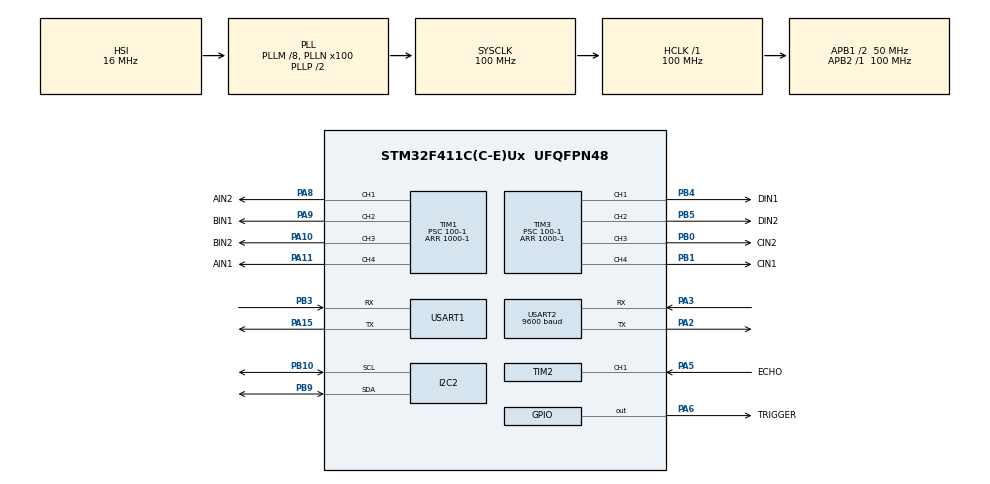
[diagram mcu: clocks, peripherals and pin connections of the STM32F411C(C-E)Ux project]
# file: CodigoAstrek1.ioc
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Dma.Request0=USART2_RX
Dma.Request1=USART1_TX
Dma.USART1_TX.1.Direction=DMA_MEMORY_TO_PERIPH
Dma.USART1_TX.1.FIFOMode=DMA_FIFOMODE_DISABLE
Dma.USART1_TX.1.Instance=DMA2_Stream7
Dma.USART1_TX.1.MemDataAlignment=DMA_MDATAALIGN_BYTE
Dma.USART1_TX.1.MemInc=DMA_MINC_ENABLE
Dma.USART1_TX.1.Mode=DMA_NORMAL
Dma.USART1_TX.1.PeriphDataAlignment=DMA_PDATAALIGN_BYTE
Dma.USART1_TX.1.PeriphInc=DMA_PINC_DISABLE
Dma.USART1_TX.1.Priority=DMA_PRIORITY_LOW
Dma.USART2_RX.0.Direction=DMA_PERIPH_TO_MEMORY
Dma.USART2_RX.0.FIFOMode=DMA_FIFOMODE_DISABLE
Dma.USART2_RX.0.Instance=DMA1_Stream5
Dma.USART2_RX.0.MemDataAlignment=DMA_MDATAALIGN_BYTE
Dma.USART2_RX.0.MemInc=DMA_MINC_ENABLE
Dma.USART2_RX.0.Mode=DMA_CIRCULAR
Dma.USART2_RX.0.PeriphDataAlignment=DMA_PDATAALIGN_BYTE
Dma.USART2_RX.0.PeriphInc=DMA_PINC_DISABLE
Dma.USART2_RX.0.Priority=DMA_PRIORITY_LOW
FREERTOS.BinarySemaphores01=hcsr04Semaphore,Dynamic,NULL,Available;serialSemaphore,Dynamic,NULL,Available;imuSemaphore,Dynamic,NULL,Available
FREERTOS.Queues01=sensorDataQueue,5,uint16_t,0,Dynamic,NULL,NULL;gpsDataQueue,5,uint16_t,0,Dynamic,NULL,NULL;imuDataQueue,5,uint16_t,0,Dynamic,NULL,NULL
FREERTOS.Tasks01=defaultTask,24,128,StartDefaultTask,Default,NULL,Dynamic,NULL,NULL;Control,48,128,ControlTask,Default,NULL,Dynamic,NULL,NULL;Ultrasonido,16,256,UltrasonicTask,As weak,NULL,Dynamic,NULL,NULL;Geoposicion,25,512,GPSTask,As weak,NULL,Dynamic,NULL,NULL;IMU,18,512,IMUTask,As weak,NULL,Dynamic,NULL,NULL;Transmision,8,512,TransmisionTask,As weak,NULL,Dynamic,NULL,NULL;Sensores_I2C,16,256,SensorsTask,As weak,NULL,Dynamic,NULL,NULL
FREERTOS.configUSE_NEWLIB_REENTRANT=1
Mcu.Family=STM32F4
Mcu.Name=STM32F411C(C-E)Ux
Mcu.Package=UFQFPN48
NVIC.DMA1_Stream5_IRQn=true\:5\:0\:false\:false\:true\:true\:false\:true\:true
NVIC.DMA2_Stream7_IRQn=true\:5\:0\:false\:false\:true\:true\:false\:true\:true
NVIC.PriorityGroup=NVIC_PRIORITYGROUP_4
NVIC.TIM1_TRG_COM_TIM11_IRQn=true\:15\:0\:false\:false\:true\:false\:false\:true\:true
NVIC.TIM2_IRQn=true\:5\:0\:false\:false\:true\:true\:true\:true\:true
NVIC.TimeBase=TIM1_TRG_COM_TIM11_IRQn
NVIC.TimeBaseIP=TIM11
NVIC.USART1_IRQn=true\:5\:0\:false\:false\:true\:true\:true\:true\:true
NVIC.USART2_IRQn=true\:5\:0\:false\:false\:true\:true\:true\:true\:true
PA10.GPIO_Label=BIN2
PA10.Signal=S_TIM1_CH3
PA11.GPIO_Label=AIN1
PA11.Signal=S_TIM1_CH4
PA15.Mode=Asynchronous
PA15.Signal=USART1_TX
PA2.Mode=Asynchronous
PA2.Signal=USART2_TX
PA3.Mode=Asynchronous
PA3.Signal=USART2_RX
PA5.GPIO_Label=ECHO
PA5.Signal=S_TIM2_CH1_ETR
PA6.GPIO_Label=TRIGGER
PA6.Signal=GPIO_Output
PA8.GPIO_Label=AIN2
PA8.Signal=S_TIM1_CH1
PA9.GPIO_Label=BIN1
PA9.Signal=S_TIM1_CH2
PB0.GPIO_Label=CIN2
PB0.Signal=S_TIM3_CH3
PB1.GPIO_Label=CIN1
PB1.Signal=S_TIM3_CH4
PB10.Mode=I2C
PB10.Signal=I2C2_SCL
PB3.Mode=Asynchronous
PB3.Signal=USART1_RX
PB4.GPIO_Label=DIN1
PB4.Signal=S_TIM3_CH1
PB5.GPIO_Label=DIN2
PB5.Signal=S_TIM3_CH2
PB9.Mode=I2C
PB9.Signal=I2C2_SDA
ProjectManager.HeapSize=0x200
ProjectManager.StackSize=0x400
ProjectManager.TargetToolchain=STM32CubeIDE
RCC.48MHZClocksFreq_Value=50000000
RCC.AHBFreq_Value=100000000
RCC.APB1CLKDivider=RCC_HCLK_DIV2
RCC.APB1Freq_Value=50000000
RCC.APB1TimFreq_Value=100000000
RCC.APB2Freq_Value=100000000
RCC.APB2TimFreq_Value=100000000
RCC.CortexFreq_Value=100000000
RCC.HCLKFreq_Value=100000000
RCC.HSE_VALUE=25000000
RCC.HSI_VALUE=16000000
RCC.LSE_VALUE=32768
RCC.PLLM=8
RCC.PLLN=100
RCC.SYSCLKFreq_VALUE=100000000
RCC.SYSCLKSource=RCC_SYSCLKSOURCE_PLLCLK
RCC.VCOOutputFreq_Value=200000000
SH.S_TIM1_CH1.0=TIM1_CH1,PWM Generation1 CH1
SH.S_TIM1_CH2.0=TIM1_CH2,PWM Generation2 CH2
SH.S_TIM1_CH3.0=TIM1_CH3,PWM Generation3 CH3
SH.S_TIM1_CH4.0=TIM1_CH4,PWM Generation4 CH4
SH.S_TIM2_CH1_ETR.0=TIM2_CH1,Input_Capture1_from_TI1
SH.S_TIM3_CH1.0=TIM3_CH1,PWM Generation1 CH1
SH.S_TIM3_CH2.0=TIM3_CH2,PWM Generation2 CH2
SH.S_TIM3_CH3.0=TIM3_CH3,PWM Generation3 CH3
SH.S_TIM3_CH4.0=TIM3_CH4,PWM Generation4 CH4
TIM1.Channel-PWM\ Generation1\ CH1=TIM_CHANNEL_1
TIM1.Channel-PWM\ Generation2\ CH2=TIM_CHANNEL_2
TIM1.Channel-PWM\ Generation3\ CH3=TIM_CHANNEL_3
TIM1.Channel-PWM\ Generation4\ CH4=TIM_CHANNEL_4
TIM1.Period=1000-1
TIM1.Prescaler=100-1
TIM2.Channel-Input_Capture1_from_TI1=TIM_CHANNEL_1
TIM2.Period=999
TIM2.Prescaler=100-1
TIM3.Channel-PWM\ Generation1\ CH1=TIM_CHANNEL_1
TIM3.Channel-PWM\ Generation2\ CH2=TIM_CHANNEL_2
TIM3.Channel-PWM\ Generation3\ CH3=TIM_CHANNEL_3
TIM3.Channel-PWM\ Generation4\ CH4=TIM_CHANNEL_4
TIM3.Period=1000-1
TIM3.Prescaler=100-1
USART1.VirtualMode=VM_ASYNC
USART2.BaudRate=9600
USART2.VirtualMode=VM_ASYNC
VP_FREERTOS_VS_CMSIS_V2.Mode=CMSIS_V2
VP_SYS_VS_tim11.Mode=TIM11
VP_TIM1_VS_ClockSourceINT.Mode=Internal
VP_TIM2_VS_ClockSourceINT.Mode=Internal
VP_TIM3_VS_ClockSourceINT.Mode=Internal
board=custom

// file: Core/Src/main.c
/* USER CODE BEGIN Header */
/**
 ******************************************************************************
 * @file           : main.c
 * @brief          : Main program body
 ******************************************************************************
 * @attention
 *
 * Copyright (c) 2025 STMicroelectronics.
 * All rights reserved.
 *
 * This software is licensed under terms that can be found in the LICENSE file
 * in the root directory of this software component.
 * If no LICENSE file comes with this software, it is provided AS-IS.
 *
 ******************************************************************************
 */
/* USER CODE END Header */
#include "main.h"
#include "cmsis_os.h"
#include "dma.h"
#include "i2c.h"
#include "tim.h"
#include "usart.h"
#include "gpio.h"

/* USER CODE BEGIN Includes */
#include "Control_Rover.h"
#include "GPS.h"
#include "IMU.h"
#include "Serial.h"
#include "sr04.h"
#include "Gases.h"
#include "Navegacion.h"

/* USER CODE END Includes */

/* USER CODE BEGIN PTD */
Rover_Config Rover; // A corregir, que los de diseño hpta se decidan si 4x4 o solo traccion delantera
HCSR04_Config_t hcsr04_config;
GPS_Config_t gps_config;
MPU9250_Data IMU_Data;
BMP280_t bmp;
CCS811_Handle_t ccs811_handle;

extern UART_HandleTypeDef huart2;
extern UART_HandleTypeDef huart1;
/* USER CODE END PTD */

/* USER CODE BEGIN PD */
#define CCS811_I2C_ADDRESS         0x5A  // Dirección I2C del CCS811 (ADDR a GND)
#define SENSOR_READ_INTERVAL_MS    2000  // Intervalo de lectura de sensores en ms
#define UART_BUFFER_SIZE           256   // Tamaño del buffer UART

/* USER CODE END PD */

void SystemClock_Config(void);
void MX_FREERTOS_Init(void);
/* USER CODE BEGIN PFP */
void AllInit(void);

/* USER CODE END PFP */

int main(void)
{

  /* MCU Configuration--------------------------------------------------------*/

  /* Reset of all peripherals, Initializes the Flash interface and the Systick. */
  HAL_Init();

  /* Configure the system clock */
  SystemClock_Config();

  /* Initialize all configured peripherals */
  MX_GPIO_Init();
  MX_DMA_Init();
  MX_TIM1_Init();
  MX_TIM3_Init();
  MX_TIM2_Init();
  MX_I2C2_Init();
  MX_USART2_UART_Init();
  MX_USART1_UART_Init();
  /* USER CODE BEGIN 2 */
  AllInit();
  /* USER CODE END 2 */

  /* Init scheduler */
  osKernelInitialize();  /* Call init function for freertos objects (in cmsis_os2.c) */
  MX_FREERTOS_Init();

  /* Start scheduler */
  osKernelStart();

  /* We should never get here as control is now taken by the scheduler */

  /* Infinite loop */
	while (1)
	{

	}
}

void SystemClock_Config(void)
{
  RCC_OscInitTypeDef RCC_OscInitStruct = {0};
  RCC_ClkInitTypeDef RCC_ClkInitStruct = {0};

  /** Configure the main internal regulator output voltage
  */
  __HAL_RCC_PWR_CLK_ENABLE();
  __HAL_PWR_VOLTAGESCALING_CONFIG(PWR_REGULATOR_VOLTAGE_SCALE1);

  /** Initializes the RCC Oscillators according to the specified parameters
  * in the RCC_OscInitTypeDef structure.
  */
  RCC_OscInitStruct.OscillatorType = RCC_OSCILLATORTYPE_HSI;
  RCC_OscInitStruct.HSIState = RCC_HSI_ON;
  RCC_OscInitStruct.HSICalibrationValue = RCC_HSICALIBRATION_DEFAULT;
  RCC_OscInitStruct.PLL.PLLState = RCC_PLL_ON;
  RCC_OscInitStruct.PLL.PLLSource = RCC_PLLSOURCE_HSI;
  RCC_OscInitStruct.PLL.PLLM = 8;
  RCC_OscInitStruct.PLL.PLLN = 100;
  RCC_OscInitStruct.PLL.PLLP = RCC_PLLP_DIV2;
  RCC_OscInitStruct.PLL.PLLQ = 4;
  if (HAL_RCC_OscConfig(&RCC_OscInitStruct) != HAL_OK)
  {
    Error_Handler();
  }

  /** Initializes the CPU, AHB and APB buses clocks
  */
  RCC_ClkInitStruct.ClockType = RCC_CLOCKTYPE_HCLK|RCC_CLOCKTYPE_SYSCLK
                              |RCC_CLOCKTYPE_PCLK1|RCC_CLOCKTYPE_PCLK2;
  RCC_ClkInitStruct.SYSCLKSource = RCC_SYSCLKSOURCE_PLLCLK;
  RCC_ClkInitStruct.AHBCLKDivider = RCC_SYSCLK_DIV1;
  RCC_ClkInitStruct.APB1CLKDivider = RCC_HCLK_DIV2;
  RCC_ClkInitStruct.APB2CLKDivider = RCC_HCLK_DIV1;

  if (HAL_RCC_ClockConfig(&RCC_ClkInitStruct, FLASH_LATENCY_3) != HAL_OK)
  {
    Error_Handler();
  }
}

/* USER CODE BEGIN 4 */
void AllInit(void){ // COLOCAR LOS QUE SON BRRRRRRRRRRR

	BMP280_Init(&bmp, &hi2c2);
	MPU9250_Init();

	// Configuración del sensor de gases CCS811
	CCS811_Config_t ccs811_config;
	//ccs811_config.hi2c = &hi2c1;  // Usar I2C1 para el CCS811
	ccs811_config.device_address = CCS811_I2C_ADDRESS;
	ccs811_config.measurement_mode = CCS811_MODE_1SEC;  // Medición cada segundo
	ccs811_config.baseline = 0;  // Sin baseline inicial
	ccs811_config.interrupt_enabled = false;  // Sin interrupciones
	//ccs811_config.error_callback = CCS811_ErrorHandler;

	//HAL_GPIO_WritePin(GPIOA, GPIO_PIN_4, GPIO_PIN_SET); // Prende el StandBy

	HAL_TIM_PWM_Start(&htim1, TIM_CHANNEL_2); // motor izquierdo adelante
	HAL_TIM_PWM_Start(&htim1, TIM_CHANNEL_3);

	HAL_TIM_PWM_Start(&htim1, TIM_CHANNEL_4); // Motor derecho adelante
	HAL_TIM_PWM_Start(&htim1, TIM_CHANNEL_1);

	HAL_TIM_PWM_Start(&htim3, TIM_CHANNEL_1); // motor izquierdo atras
	HAL_TIM_PWM_Start(&htim3, TIM_CHANNEL_2);

	HAL_TIM_PWM_Start(&htim3, TIM_CHANNEL_4); // Motor derecho atras
	HAL_TIM_PWM_Start(&htim3, TIM_CHANNEL_3);

	// Configurar pines y timer para el motor derecho delantero
	Rover.f_right_motor.pwm_timer = &htim1;
	Rover.f_right_motor.pwm_channel_IN1 = TIM_CHANNEL_4; // AIN1
	Rover.f_right_motor.pwm_channel_IN2 = TIM_CHANNEL_1; // AIN2

	// Configurar pines y timer para el motor izquierdo delantero
	Rover.f_left_motor.pwm_timer = &htim1;
	Rover.f_left_motor.pwm_channel_IN1 = TIM_CHANNEL_2; // BIN1
	Rover.f_left_motor.pwm_channel_IN2 = TIM_CHANNEL_3; // BIN2

	// Configurar pines y timer para el motor derecho trasero
	Rover.b_right_motor.pwm_timer = &htim3;
	Rover.b_right_motor.pwm_channel_IN1 = TIM_CHANNEL_4; // CIN1
	Rover.b_right_motor.pwm_channel_IN2 = TIM_CHANNEL_3; // CIN2

	// Configurar pines y timer para el motor izquierdo trasero
	Rover.b_left_motor.pwm_timer = &htim3;
	Rover.b_left_motor.pwm_channel_IN1 = TIM_CHANNEL_1; // DIN1
	Rover.b_left_motor.pwm_channel_IN2 = TIM_CHANNEL_2; // DIN2

	hcsr04_config.htim = &htim2;
	hcsr04_config.tim_channel = TIM_CHANNEL_1;
	hcsr04_config.trig_port = GPIOA;          // Ajustar según tu configuración
	hcsr04_config.trig_pin = GPIO_PIN_6;     // Ajustar según tu configuración
	hcsr04_config.timeout_ms = 100;
	HCSR04_Init(&hcsr04_config);

	gps_config.huart = &huart2;  // colocar la que es aqui y arriba en la definicion externa
	gps_config.timeout_ms = 1000;
	GPS_Init(&gps_config);

	Serial_Init(&huart1);

	init_navegacion();
}

/**
 *  @brief Callback de Input Capture
 * @param htim Handle del timer
 */
void HAL_TIM_IC_CaptureCallback(TIM_HandleTypeDef *htim)
{
	HCSR04_InputCaptureCallback(htim);
}

/**
 * @brief Callback de transmisión UART completa
 * @param huart Handle de UART
 */
void HAL_UART_TxCpltCallback(UART_HandleTypeDef *huart)
{
	Serial_TxComplete_Callback(huart);
}

void HAL_UART_RxCpltCallback(UART_HandleTypeDef *huart)
{

}

void HAL_UART_ErrorCallback(UART_HandleTypeDef *huart)
{
	if (huart == &huart2) {
		// Reiniciar recepción en caso de error
		GPS_StartReceive();
	}
}

void HAL_UART_RxHalfCpltCallback(UART_HandleTypeDef *huart)
{
	// El procesamiento se hace en la task GPS
	// No es necesario hacer nada aquí ya que usamos DMA circular
}

/* USER CODE END 4 */

void HAL_TIM_PeriodElapsedCallback(TIM_HandleTypeDef *htim)
{
  if (htim->Instance == TIM11)
  {
    HAL_IncTick();
  }
}

void Error_Handler(void)
{
	__disable_irq();
	while (1)
	{
	}
}

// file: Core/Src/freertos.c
/* USER CODE BEGIN Header */
/**
 ******************************************************************************
 * File Name          : freertos.c (VERSIÓN CORREGIDA)
 * Description        : Code for freertos applications
 ******************************************************************************
 */
/* USER CODE END Header */

#include "FreeRTOS.h"
#include "task.h"
#include "main.h"
#include "cmsis_os.h"

/* USER CODE BEGIN Includes */
#define _USE_MATH_DEFINES
#include <math.h>

#include "GPS.h"
#include "IMU.h"
#include "Serial.h"
#include "sr04.h"

#include "Navegacion.h"
//#include "NavGlobal.h"
#include "Taquito.h"

#include "usart.h"
#include "i2c.h"

#include <string.h>
#include <stdio.h>

#include "Control_Rover.h"
#include "Control_Pose.h"
#include "Control_Kinematics.h"
#include "Control_PWM.h"

#include "Sensors_I2C.h"
#include "LoRa_RYLR998.h"

/* USER CODE END Includes */

/* USER CODE BEGIN PTD */
extern Rover_Config Rover;
extern HCSR04_Config_t hcsr04_config;
extern GPS_Config_t gps_config;
extern MPU9250_Data IMU_Data;
/* USER CODE END PTD */

/* USER CODE BEGIN Variables */
int __io_putchar(int ch) {
	HAL_UART_Transmit(&huart1, (uint8_t *)&ch, 1, HAL_MAX_DELAY);
	return ch;
}

uint32_t raw_light_debug = 0;
static PoseController_t pose_controller;
static PWM_Compensation_t pwm_compensation;
static uint8_t control_initialized = 0;

/* USER CODE END Variables */
/* Definitions for Navegacion */
osThreadId_t NavegacionHandle;
const osThreadAttr_t Navegacion_attributes = {
		.name = "Navegacion",
		.stack_size = 144 * 4,
		.priority = (osPriority_t) osPriorityAboveNormal,
};
/* Definitions for Taquito */
osThreadId_t TaquitoHandle;
const osThreadAttr_t Taquito_attributes = {
		.name = "Taquito",
		.stack_size = 311 * 4,
		.priority = (osPriority_t) osPriorityNormal,
};
/* Definitions for NavGlobal */
osThreadId_t NavGlobalHandle;
const osThreadAttr_t NavGlobal_attributes = {
		.name = "NavGlobal",
		.stack_size = 323 * 4,
		.priority = (osPriority_t) osPriorityBelowNormal1,
};
/* Definitions for Control */
osThreadId_t ControlHandle;
const osThreadAttr_t Control_attributes = {
		.name = "Control",
		.stack_size = 128 * 4,
		.priority = (osPriority_t) osPriorityRealtime,
};
/* Definitions for Ultrasonido */
osThreadId_t UltrasonidoHandle;
const osThreadAttr_t Ultrasonido_attributes = {
		.name = "Ultrasonido",
		.stack_size = 210 * 4,
		.priority = (osPriority_t) osPriorityBelowNormal2,
};
/* Definitions for Geoposicion */
osThreadId_t GeoposicionHandle;
const osThreadAttr_t Geoposicion_attributes = {
		.name = "Geoposicion",
		.stack_size = 210 * 4,
		.priority = (osPriority_t) osPriorityNormal,
};
/* Definitions for Transmision */
osThreadId_t TransmisionHandle;
const osThreadAttr_t Transmision_attributes = {
		.name = "Transmision",
		.stack_size = 512 * 4,
		.priority = (osPriority_t) osPriorityLow,
};
/* Definitions for Sensores_I2C */
osThreadId_t Sensores_I2CHandle;
const osThreadAttr_t Sensores_I2C_attributes = {
		.name = "Sensores_I2C",
		.stack_size = 512 * 4,
		.priority = (osPriority_t) osPriorityBelowNormal,
};
/* Definitions for sensorDataQueue */
osMessageQueueId_t sensorDataQueueHandle;
const osMessageQueueAttr_t sensorDataQueue_attributes = {
		.name = "sensorDataQueue"
};
/* Definitions for gpsDataQueue */
osMessageQueueId_t gpsDataQueueHandle;
const osMessageQueueAttr_t gpsDataQueue_attributes = {
		.name = "gpsDataQueue"
};
/* Definitions for controlDataQueue */
osMessageQueueId_t controlDataQueueHandle;
const osMessageQueueAttr_t controlDataQueue_attributes = {
		.name = "controlDataQueue"
};
/* Definitions for navStatesQueue */
osMessageQueueId_t navStatesQueueHandle;
const osMessageQueueAttr_t navStatesQueue_attributes = {
		.name = "navStatesQueue"
};
/* Definitions for hcsr04DataQueue */
osMessageQueueId_t hcsr04DataQueueHandle;
const osMessageQueueAttr_t hcsr04DataQueue_attributes = {
		.name = "hcsr04DataQueue"
};
/* Definitions for hcsr04Semaphore */
osSemaphoreId_t hcsr04SemaphoreHandle;
const osSemaphoreAttr_t hcsr04Semaphore_attributes = {
		.name = "hcsr04Semaphore"
};
/* Definitions for serialSemaphore */
osSemaphoreId_t serialSemaphoreHandle;
const osSemaphoreAttr_t serialSemaphore_attributes = {
		.name = "serialSemaphore"
};
/* Definitions for imuSemaphore */
osSemaphoreId_t imuSemaphoreHandle;
const osSemaphoreAttr_t imuSemaphore_attributes = {
		.name = "imuSemaphore"
};

/* USER CODE BEGIN FunctionPrototypes */

void Rover_SetPWM_Differential(Rover_Config *rover, PWM_Commands_t commands)
{
	// ========== MOTORES DERECHOS ==========
	if (commands.dir_right == 0) {
		__HAL_TIM_SET_COMPARE(rover->f_right_motor.pwm_timer,
				rover->f_right_motor.pwm_channel_IN1,
				commands.pwm_right);
		__HAL_TIM_SET_COMPARE(rover->f_right_motor.pwm_timer,
				rover->f_right_motor.pwm_channel_IN2, 0);

		__HAL_TIM_SET_COMPARE(rover->b_right_motor.pwm_timer,
				rover->b_right_motor.pwm_channel_IN1,
				commands.pwm_right);
		__HAL_TIM_SET_COMPARE(rover->b_right_motor.pwm_timer,
				rover->b_right_motor.pwm_channel_IN2, 0);
	} else {
		__HAL_TIM_SET_COMPARE(rover->f_right_motor.pwm_timer,
				rover->f_right_motor.pwm_channel_IN1, 0);
		__HAL_TIM_SET_COMPARE(rover->f_right_motor.pwm_timer,
				rover->f_right_motor.pwm_channel_IN2,
				commands.pwm_right);

		__HAL_TIM_SET_COMPARE(rover->b_right_motor.pwm_timer,
				rover->b_right_motor.pwm_channel_IN1, 0);
		__HAL_TIM_SET_COMPARE(rover->b_right_motor.pwm_timer,
				rover->b_right_motor.pwm_channel_IN2,
				commands.pwm_right);
	}

	// ========== MOTORES IZQUIERDOS ==========
	if (commands.dir_left == 0) {
		__HAL_TIM_SET_COMPARE(rover->f_left_motor.pwm_timer,
				rover->f_left_motor.pwm_channel_IN1,
				commands.pwm_left);
		__HAL_TIM_SET_COMPARE(rover->f_left_motor.pwm_timer,
				rover->f_left_motor.pwm_channel_IN2, 0);

		__HAL_TIM_SET_COMPARE(rover->b_left_motor.pwm_timer,
				rover->b_left_motor.pwm_channel_IN1,
				commands.pwm_left);
		__HAL_TIM_SET_COMPARE(rover->b_left_motor.pwm_timer,
				rover->b_left_motor.pwm_channel_IN2, 0);
	} else {
		__HAL_TIM_SET_COMPARE(rover->f_left_motor.pwm_timer,
				rover->f_left_motor.pwm_channel_IN1, 0);
		__HAL_TIM_SET_COMPARE(rover->f_left_motor.pwm_timer,
				rover->f_left_motor.pwm_channel_IN2,
				commands.pwm_left);

		__HAL_TIM_SET_COMPARE(rover->b_left_motor.pwm_timer,
				rover->b_left_motor.pwm_channel_IN1, 0);
		__HAL_TIM_SET_COMPARE(rover->b_left_motor.pwm_timer,
				rover->b_left_motor.pwm_channel_IN2,
				commands.pwm_left);
	}
}

/* USER CODE END FunctionPrototypes */

void NavegacionTask(void *argument);
void TaquitoTask(void *argument);
void Navegacion_Global(void *argument);
void ControlTask(void *argument);
void UltrasonidoTask(void *argument);
void GPSTask(void *argument);
void TransmisionTask(void *argument);
void SensoresTask(void *argument);

void MX_FREERTOS_Init(void); /* (MISRA C 2004 rule 8.1) */

void MX_FREERTOS_Init(void) {

	/* Create the semaphores(s) */
	/* creation of hcsr04Semaphore */
	hcsr04SemaphoreHandle = osSemaphoreNew(1, 0, &hcsr04Semaphore_attributes);

	/* creation of serialSemaphore */
	serialSemaphoreHandle = osSemaphoreNew(1, 1, &serialSemaphore_attributes);

	/* creation of imuSemaphore */
	imuSemaphoreHandle = osSemaphoreNew(1, 1, &imuSemaphore_attributes);

	/* Create the queue(s) */
	/* creation of sensorDataQueue */
	sensorDataQueueHandle = osMessageQueueNew (5, sizeof(SensorData_t), &sensorDataQueue_attributes);

	/* creation of gpsDataQueue */
	gpsDataQueueHandle = osMessageQueueNew (5, sizeof(GPS_Data_t), &gpsDataQueue_attributes);

	/* creation of controlDataQueue */
	controlDataQueueHandle = osMessageQueueNew (5, sizeof(ControlCommand_t), &controlDataQueue_attributes);

	/* creation of navStatesQueue */
	//navStatesQueueHandle = osMessageQueueNew (5, sizeof(evento_navegacion), &navStatesQueue_attributes);

	/* creation of hcsr04DataQueue */
	hcsr04DataQueueHandle = osMessageQueueNew (5, sizeof(uint16_t), &hcsr04DataQueue_attributes);

	/* Create the thread(s) */
	/* creation of Navegacion */
	//NavegacionHandle = osThreadNew(NavegacionTask, NULL, &Navegacion_attributes);

	/* creation of Taquito */
	TaquitoHandle = osThreadNew(TaquitoTask, NULL, &Taquito_attributes);

	/* creation of NavGlobal */
	//NavGlobalHandle = osThreadNew(Navegacion_Global, NULL, &NavGlobal_attributes);

	/* creation of Control */
	ControlHandle = osThreadNew(ControlTask, NULL, &Control_attributes);

	/* creation of Ultrasonido */
	UltrasonidoHandle = osThreadNew(UltrasonidoTask, NULL, &Ultrasonido_attributes);

	/* creation of Geoposicion */
	GeoposicionHandle = osThreadNew(GPSTask, NULL, &Geoposicion_attributes);

	/* creation of Transmision */
	TransmisionHandle = osThreadNew(TransmisionTask, NULL, &Transmision_attributes);

	/* creation of Sensores_I2C */
	Sensores_I2CHandle = osThreadNew(SensoresTask, NULL, &Sensores_I2C_attributes);

}

void NavegacionTask(void *argument)
{
	for(;;)
	{
		osDelay(1);
	}
}

void TaquitoTask(void *argument)
{
	for(;;)
	{
		osDelay(1);
	}
}

void Navegacion_Global(void *argument)
{
	for(;;)
	{
		osDelay(1);
	}
}

void ControlTask(void *argument)
{
    PoseController_t pose_ctrl;
    PoseController_Init(&pose_ctrl);

    GPS_Data_t gps_data;
    ControlCommand_t cmd;
    osStatus_t status;

    // Variables de trabajo para el control
	float vx_cmd = 0.0f;
	float wz_cmd = 0.0f;

    // Target inicial (hardcoded para prueba)
  /*  float target_x = 10.0f;  // 10 metros al norte
    float target_y = 0.0f;*/

    for(;;)
    {
        // 1. Leer GPS actual
        status = osMessageQueueGet(gpsDataQueueHandle, &gps_data, NULL, 10);
        if (status != osOK) continue;

        // Intentar leer un comando de la cola de Taquito (no bloqueante, timeout 0)
        status = osMessageQueueGet(controlDataQueueHandle, &cmd, NULL, 0);
        if (status != osOK) continue;

        // 2. Convertir GPS a coordenadas locales (usar gpsACartesiano)
        P_Cartesiano pos_actual = gpsACartesiano(estacionTerrena, &gps_data);

        // 3. Obtener orientación (temporalmente de GPS course)
        float theta_actual = deg2rad(gps_data.course);

        // 3. SELECCIÓN DE LÓGICA DE CONTROL BASADA EN EL MODO
		switch (cmd.mode)
		{
			case MODE_WALL_FOLLOW: //control PID para el seguimiento de pared
				// Taquito ya calculó el PID lateral y dio el vx y wz (corrección)
				vx_cmd = cmd.target_vx;
				wz_cmd = cmd.target_wz;

				// Resetear el PID de pose (para que no interfiera)
				PoseController_Reset(&pose_ctrl);
				break;

			case MODE_POSE_GIRO: //pendiente de ajustar, es para los giros de 90°
				// Giro de 90 grados:
				// 1. Usamos el PID angular de PoseController
				PoseController_Update_Theta(&pose_ctrl,
											pos_actual.theta,
											cmd.target_theta);

				// 2. Tomamos el wz del controlador angular y forzamos vx=0
				vx_cmd = 0.0f;
				wz_cmd = pose_ctrl.wz_cmd;

				// Lógica de finalización (debe estar aquí o en PoseController_Update_Theta)
				// if (fabsf(theta_actual - cmd.target_theta) < THETA_TOLERANCE) {
				//     // Notificar a Taquito y cambiar el modo de control.
				// }
				break;

			case MODE_POSE_TARGET: //la logica que ya se tenia, avanza hacia un target x,y
				// Comportamiento de control de pose original (ir a X, Y)
				PoseController_Update(&pose_ctrl,
									 pos_actual.x, pos_actual.y, theta_actual,
									 cmd.target_x, cmd.target_y); // Usar targets del comando

				vx_cmd = pose_ctrl.vx_cmd;
				wz_cmd = pose_ctrl.wz_cmd;
				break;

			case MODE_FORWARD:
				//avance "en bruto" desde taquito
				vx_cmd = cmd.target_vx;
				wz_cmd = cmd.target_wz;
				break;
		}

        // 5. Cinemática inversa
        WheelVelocities_t wheels = Kinematics_Inverse(vx_cmd,
                                                      wz_cmd);
///
        // 6. Modelo PWM
        PWM_Mapping_t pwm_right = PWM_VelocityToPWM(wheels.vR_cmd, 1);
        PWM_Mapping_t pwm_left = PWM_VelocityToPWM(wheels.vL_cmd, 0);

        // 7. Aplicar PWM
        Rover_SetPWM(&Rover, pwm_right.pwm_duty, pwm_left.pwm_duty);

        osDelay(50);  // Control a 20Hz
    }
}

void UltrasonidoTask(void *argument)
{
	/* USER CODE BEGIN UltrasonidoTask */

	HCSR04_Data_t data_ultrasonico;

	/* Infinite loop */
	for(;;)
	{
		// 1. Llama a la función de lectura.
		// Esta función bloqueará la tarea (espera el semáforo)
		// hasta que la interrupción del timer reciba el eco.
		HAL_StatusTypeDef status = HCSR04_ReadDistance(&data_ultrasonico);
		// 2. Comprobar si la lectura fue exitosa
		if (status == HAL_OK)
		{
			// 3. Imprimir el dato usando la función de Serial.c
			// Esta función ya comprueba si data.is_valid
			Serial_PrintHCSR04Data(&data_ultrasonico);
		}
		else
		{
			// 4. (Opcional) Imprimir si hubo un error (timeout)
			//Serial_PrintString("[Ultrasonico] Error: Timeout (eco no recibido)\r\n");
		}
		// 5. Esperar antes de la próxima medición
		// No medir demasiado rápido para evitar ecos fantasmas.
		osDelay(200); // 5 lecturas por segundo es más que suficiente.
	}
	/* USER CODE END UltrasonidoTask */
}

void GPSTask(void *argument)
{
	/* USER CODE BEGIN GPSTask */
	GPS_Data_t local_gps_data;

	/* Infinite loop */
	for(;;)
	{
		GPS_ProcessData();
		if (gps_data_ready) {
			// Copiar datos globales a local
			memcpy(&local_gps_data, &g_gps_data, sizeof(GPS_Data_t));

			// Enviar a cola para otras tareas
			osMessageQueuePut(gpsDataQueueHandle, &local_gps_data, 0, 0);

			// Imprimir para debug
			GPS_PrintData(&local_gps_data);

			// Limpiar bandera
			gps_data_ready = 0;
		}
		osDelay(100);
	}
	/* USER CODE END GPSTask */
}

void TransmisionTask(void *argument)
{
	for(;;)
	{
		osDelay(1);
	}
}

void SensoresTask(void *argument)
{
	/* USER CODE BEGIN SensoresTask */
	Sensors_I2C_Handle_t hsensors = {0};
	LoRa_t lora_module;

	if (Sensors_I2C_Init(&hsensors, &hi2c1)==HAL_OK)
	{
		Serial_PrintString("Sensores I2C Inicializados \n\r");
	}
	else
	{
		Serial_PrintString("No se logró inicializar los sensores \n\r");
	}
	LoRa_Init(&lora_module, &huart1);
	LoRa_Setup(&lora_module,
			"1",  // Dirección del dispositivo
			"18", // ID de Red
			"915000000"); // Banda (ej. 915 MHz)

	/* Infinite loop */
	for(;;)
	{
		// 1. Leer Temperatura y Humedad
		HDC1080_Read(&hsensors);

		// 2. Enviar datos de T/H al CCS811 para compensación
		CCS811_WriteEnvData(&hsensors, hsensors.data.temperature, hsensors.data.humidity);

		// 3. Leer Calidad de Aire (ahora compensada)
		CCS811_Read(&hsensors);

		// 4. Leer el resto de sensores
		MPU6050_Read(&hsensors);
		LTR390_Read(&hsensors);

		char msg[128];

		// ----- MODIFICACIÓN DEL SNPRINTF -----
		snprintf(msg, sizeof(msg),
				"%.1f,%.1f,%u,%u,%.2f,%.2f,%.2f,%.1f",
				hsensors.data.temperature,
				hsensors.data.humidity,
				hsensors.data.eco2,
				hsensors.data.tvoc,
				hsensors.data.accel[0],
				hsensors.data.accel[1],
				hsensors.data.accel[2],
				hsensors.data.light); // Volvemos a imprimir el valor float

		char cmd[160];
		snprintf(cmd, sizeof(cmd), "AT+SEND=0,%d,%s\r\n", (int)strlen(msg), msg);
		Serial_PrintString(cmd);
		osDelay(200);

	}

	/* USER CODE END SensoresTask */
}
